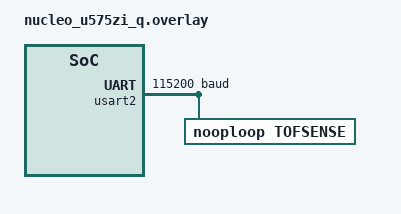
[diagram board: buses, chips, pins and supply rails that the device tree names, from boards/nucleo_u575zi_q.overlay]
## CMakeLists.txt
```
# SPDX-License-Identifier: Apache-2.0

cmake_minimum_required(VERSION 3.20.0)
find_package(Zephyr REQUIRED HINTS $ENV{ZEPHYR_BASE})
project(tofsense)

target_sources(app PRIVATE src/main.c)
```

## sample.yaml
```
sample:
  name: Sample for Nooploop TOFSense Time Of Flight sensor
tests:
  sample.sensor.tofsense:
    depends_on:
      - uart
    tags:
      - sensors
    filter: dt_alias_exists("tof")
    harness: console
    harness_config:
      type: multi_line
      regex:
        - "distance is .*"
```

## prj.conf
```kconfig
CONFIG_SENSOR=y
CONFIG_UART_INTERRUPT_DRIVEN=y

CONFIG_CAN=y

#debug
CONFIG_DEBUG=y
CONFIG_LOG=y
CONFIG_SENSOR_LOG_LEVEL_INF=y
```

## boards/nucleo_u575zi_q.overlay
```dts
/*
 * Copyright (c) 2025 Alex Fabre
 *
 * SPDX-License-Identifier: Apache-2.0
 */

#include <zephyr/dt-bindings/sensor/tofsense.h>

/ {
	aliases {
		tof = &tofsense;
	};
};

&usart2 {
	current-speed = <115200>;
	tofsense: tofsense {
		compatible = "nooploop,tofsense";
		status = "okay";
		id = <0>;
		operating-mode = <TOFSENSE_MODE_ACTIVE>;
		active-mode-frequency = <30>;
	};
};
```

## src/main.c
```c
/*
 * Copyright (c) 2025 Alex Fabre
 *
 * SPDX-License-Identifier: Apache-2.0
 */

#include <zephyr/kernel.h>
#include <zephyr/device.h>
#include <zephyr/drivers/sensor.h>
#include <zephyr/sys/printk.h>

int main(void)
{
	const struct device *const dev = DEVICE_DT_GET(DT_ALIAS(tof));
	struct sensor_value value;
	int ret;

	if (!device_is_ready(dev)) {
		printk("sensor: device not ready.\n");
		return 0;
	}

	while (1) {
		ret = sensor_sample_fetch(dev);
		if (ret) {
			printk("sensor_sample_fetch failed ret %d\n", ret);
			return 0;
		}

		ret = sensor_channel_get(dev, SENSOR_CHAN_DISTANCE, &value);
		printk("distance is %3lld mm\n", sensor_value_to_milli(&value));

		printk("\n");
		k_sleep(K_MSEC(5000));
	}
	return 0;
}
```
